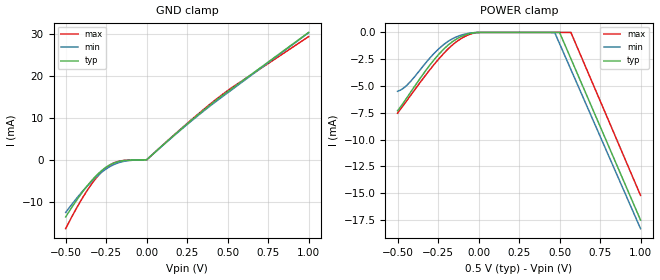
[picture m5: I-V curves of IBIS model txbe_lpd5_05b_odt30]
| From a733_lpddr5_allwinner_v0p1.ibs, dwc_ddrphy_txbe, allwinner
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[Model] txbe_lpd5_05b_odt30
Model_type   Input
Polarity   Non-Inverting
Enable   Active-High
C_comp   918.503fF   916.130fF   920.680fF
C_comp_pullup   276.701fF   270.042fF   279.032fF
C_comp_pulldown   470.017fF   468.899fF   477.500fF
Vinh = 310.000mV
Vinl = 190.000mV
[Model Spec]
D_overshoot_ampl_h 0.1 NA   NA
D_overshoot_ampl_l 0.1 NA   NA
D_overshoot_area_l 300.000m NA   NA
D_overshoot_area_h 300.000m NA   NA
[Receiver Thresholds]
Vth = 125.000mV
Vth_min = 118.000mV
Vth_max = 143.000mV
Vinh_ac = 60.000mV
Vinh_dc = 60.000mV
Vinl_ac = -60.000mV
Vinl_dc = -60.000mV
Tslew_ac = 5.000ns
Threshold_sensitivity = 0.5
Reference_supply Power_clamp_ref
[Temperature Range]   25.000   125.000   -40.000
[Voltage Range]   500.000mV   470.000mV   570.000mV
[GND Clamp Reference]   0.00V   0.00V   0.00V
[C Comp Corner]
| variable   typ   min   max
C_comp   918.503fF   916.130fF   920.680fF
C_comp_pullup   276.701fF   270.042fF   279.032fF
C_comp_pulldown   470.017fF   468.899fF   477.500fF
[POWER Clamp Reference]   500.000mV   470.000mV   570.000mV
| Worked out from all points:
|   GND clamp passes 1 mA (typ) near -0.22 V on its own axis
|   POWER clamp passes 1 mA (typ) near -0.17 V on its own axis
[GND Clamp]
-500mV    -13.59mA   -12.52mA   -16.38mA
-430mV    -9.478mA   -9.05mA    -11.3mA
-370mV    -6.35mA    -6.362mA   -7.454mA
-310mV    -3.721mA   -4.024mA   -4.256mA
-250mV    -1.743mA   -2.176mA   -1.888mA
-200mV    -725.9uA   -1.093mA   -700.5uA
-160mV    -306.9uA   -547.1uA   -256.2uA
-90mV     -60.58uA   -118.4uA   -45.78uA
0V        0A         0A         0A
260mV     8.867mA    8.707mA    8.978mA
470mV     15.35mA    15.07mA    15.6mA
1V        30.29mA    30.23mA    29.29mA
[Power Clamp]
-500mV    -7.31mA    -5.5mA     -7.54mA
-470mV    -6.704mA   -5.272mA   -6.922mA
-420mV    -5.594mA   -4.582mA   -5.892mA
-270mV    -2.474mA   -1.892mA   -2.912mA
-190mV    -1.208mA   -854uA     -1.574mA
-110mV    -402uA     -266uA     -596uA
-70mV     -174uA     -112uA     -272uA
-10mV     -12uA      -6uA       -16uA
470mV     -1.142uA   -10.65uA   -236nA
500mV     -1.221uA   -1.047mA   -252.8nA
570mV     -2.453mA   -3.464mA   -292.3nA
1V        -17.51mA   -18.31mA   -15.21mA
